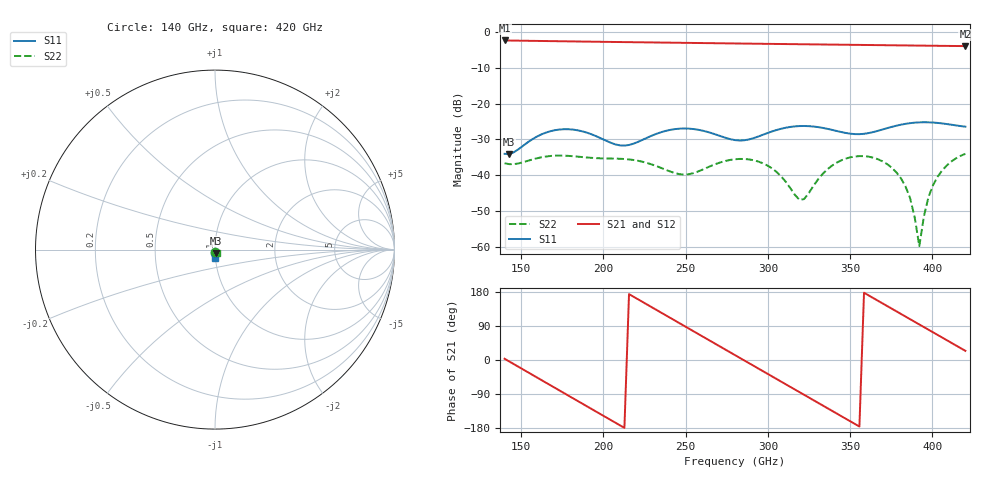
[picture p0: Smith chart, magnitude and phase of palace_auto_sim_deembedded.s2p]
! Created with skrf 1.11.0 (http://scikit-rf.org).
# GHz S DB R 50.0
!freq dBS11 angS11 dBS21 angS21 dBS12 angS12 dBS22 angS22
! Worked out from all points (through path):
!   101 points, 140 GHz to 420 GHz, reference 50 ohm
!   highest |S21| = -2.25 dB at 140 GHz (marker M1); lowest = -3.8 dB at 420 GHz (marker M2)
!   group delay of S21, straight-line fit = 6.93 ps
!   lowest |S11| = -34.1 dB at 142.8 GHz (marker M3), VSWR 1.04, Z = 50.4 - j1.94 ohm
!   |S11| at or under -10 dB: start of sweep to end of sweep
!   |S22| runs from -59.9 to -34.0 dB; largest |S21 - S12| = 1.2e-13
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140  -34.03 -85.6  -2.25 3.2  -2.25 3.2  -36.66 -81.4
142.8  -34.07 -76.4  -2.27 -3.8  -2.27 -3.8  -36.91 -76.4
154  -30.81 -58.0  -2.34 -31.9  -2.34 -31.9  -35.99 -63.0
168  -27.66 -68.6  -2.43 -67.0  -2.43 -67.0  -34.62 -65.7
187.6  -27.76 -92.6  -2.56 -116.1  -2.56 -116.1  -34.95 -74.7
201.6  -30.33 -97.5  -2.64 -151.1  -2.64 -151.1  -35.32 -77.2
212.8  -31.72 -83.3  -2.71 -179.2  -2.71 -179.2  -35.47 -81.7
235.2  -27.94 -72.7  -2.84 124.8  -2.84 124.8  -37.98 -91.0
254.8  -27.08 -90.4  -2.95 75.8  -2.95 75.8  -39.42 -70.0
280  -30.18 -90.4  -3.09 12.9  -3.09 12.9  -35.54 -79.4
302.4  -27.76 -74.1  -3.21 -43.0  -3.21 -43.0  -38.07 -112.5
319.2  -26.24 -84.3  -3.30 -84.9  -3.30 -84.9  -46.91 -89.8
327.6  -26.37 -90.3  -3.35 -105.8  -3.35 -105.8  -43.05 -47.8
338.8  -27.29 -94.6  -3.41 -133.7  -3.41 -133.7  -37.38 -54.0
352.8  -28.49 -88.2  -3.48 -168.6  -3.48 -168.6  -34.76 -81.7
375.2  -26.47 -76.9  -3.60 135.6  -3.60 135.6  -37.89 -136.2
386.4  -25.42 -81.5  -3.66 107.7  -3.66 107.7  -46.42 -171.8
392  -25.20 -84.9  -3.69 93.8  -3.69 93.8  -59.90 94.0
394.8  -25.17 -86.5  -3.70 86.8  -3.70 86.8  -51.53 21.5
400.4  -25.25 -89.6  -3.73 72.9  -3.73 72.9  -42.74 -7.3
408.8  -25.68 -92.5  -3.77 52.0  -3.77 52.0  -37.22 -32.9
420  -26.41 -91.6  -3.83 24.1  -3.83 24.1  -34.02 -63.9
